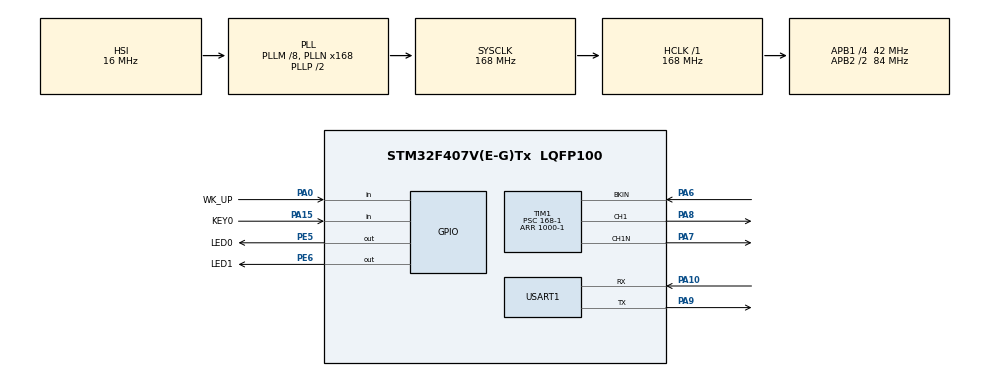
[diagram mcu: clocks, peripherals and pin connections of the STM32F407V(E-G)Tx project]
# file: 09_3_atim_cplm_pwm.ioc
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Mcu.Family=STM32F4
Mcu.Name=STM32F407V(E-G)Tx
Mcu.Package=LQFP100
NVIC.PriorityGroup=NVIC_PRIORITYGROUP_2
NVIC.USART1_IRQn=true\:2\:2\:true\:false\:true\:true\:true\:true
PA0-WKUP.GPIO_Label=WK_UP
PA0-WKUP.GPIO_PuPd=GPIO_PULLDOWN
PA0-WKUP.Signal=GPIO_Input
PA10.Mode=Asynchronous
PA10.Signal=USART1_RX
PA13.Mode=Serial_Wire
PA13.Signal=SYS_JTMS-SWDIO
PA14.Mode=Serial_Wire
PA14.Signal=SYS_JTCK-SWCLK
PA15.GPIO_Label=KEY0
PA15.GPIO_PuPd=GPIO_PULLDOWN
PA15.Signal=GPIO_Input
PA6.Mode=Activate-Break-Input
PA6.Signal=TIM1_BKIN
PA7.Mode=PWM Generation1 CH1 CH1N
PA7.Signal=TIM1_CH1N
PA8.Signal=S_TIM1_CH1
PA9.Mode=Asynchronous
PA9.Signal=USART1_TX
PC14-OSC32_IN.Mode=LSE-External-Oscillator
PC14-OSC32_IN.Signal=RCC_OSC32_IN
PC15-OSC32_OUT.Mode=LSE-External-Oscillator
PC15-OSC32_OUT.Signal=RCC_OSC32_OUT
PE5.GPIO_Label=LED0
PE5.GPIO_PuPd=GPIO_PULLUP
PE5.GPIO_Speed=GPIO_SPEED_FREQ_HIGH
PE5.PinState=GPIO_PIN_SET
PE5.Signal=GPIO_Output
PE6.GPIO_Label=LED1
PE6.GPIO_PuPd=GPIO_PULLUP
PE6.GPIO_Speed=GPIO_SPEED_FREQ_HIGH
PE6.PinState=GPIO_PIN_SET
PE6.Signal=GPIO_Output
PH0-OSC_IN.Mode=HSE-External-Oscillator
PH0-OSC_IN.Signal=RCC_OSC_IN
PH1-OSC_OUT.Mode=HSE-External-Oscillator
PH1-OSC_OUT.Signal=RCC_OSC_OUT
ProjectManager.HeapSize=0x200
ProjectManager.StackSize=0x400
ProjectManager.TargetToolchain=STM32CubeIDE
RCC.48MHZClocksFreq_Value=84000000
RCC.AHBFreq_Value=168000000
RCC.APB1CLKDivider=RCC_HCLK_DIV4
RCC.APB1Freq_Value=42000000
RCC.APB1TimFreq_Value=84000000
RCC.APB2CLKDivider=RCC_HCLK_DIV2
RCC.APB2Freq_Value=84000000
RCC.APB2TimFreq_Value=168000000
RCC.CortexFreq_Value=168000000
RCC.HCLKFreq_Value=168000000
RCC.HSE_VALUE=25000000
RCC.HSI_VALUE=16000000
RCC.PLLM=8
RCC.PLLN=168
RCC.SYSCLKFreq_VALUE=168000000
RCC.SYSCLKSource=RCC_SYSCLKSOURCE_PLLCLK
RCC.VCOOutputFreq_Value=336000000
SH.S_TIM1_CH1.0=TIM1_CH1,PWM Generation1 CH1 CH1N
TIM1.AutoReloadPreload=TIM_AUTORELOAD_PRELOAD_ENABLE
TIM1.AutomaticOutput=TIM_AUTOMATICOUTPUT_ENABLE
TIM1.Channel-PWM\ Generation1\ CH1\ CH1N=TIM_CHANNEL_1
TIM1.ClockDivision=TIM_CLOCKDIVISION_DIV4
TIM1.DeadTime=100
TIM1.OCIdleState_1=TIM_OCIDLESTATE_SET
TIM1.OCNPolarity_1=TIM_OCNPOLARITY_LOW
TIM1.OCPolarity_1=TIM_OCPOLARITY_LOW
TIM1.Period=1000-1
TIM1.Prescaler=168-1
TIM1.Pulse-PWM\ Generation1\ CH1\ CH1N=300
USART1.VirtualMode=VM_ASYNC
VP_TIM1_VS_ClockSourceINT.Mode=Internal
board=custom

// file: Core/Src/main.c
/**
 ****************************************************************************************************
 * @file        main.c
 * @author      ALIENTEK
 * @brief       Advanced timer Complementary output with deadband control code
 * @license     Copyright (C) 2012-2024, ALIENTEK
 ****************************************************************************************************
 * @attention
 *
 * platform     : ALIENTEK M100-STM32F407 board
 * website      : www.alientek.com
 * forum        : www.openedv.com/forum.php
 *
 * change logs  :
 * version      data         notes
 * V1.0         20240409     the first version
 *
 ****************************************************************************************************
 */

/* USER CODE BEGIN Header */

/* USER CODE END Header */
#include "main.h"
#include "tim.h"
#include "usart.h"
#include "gpio.h"

/* USER CODE BEGIN Includes */
#include "../../BSP/LED/led.h"
#include "../../BSP/KEY/key.h"
/* USER CODE END Includes */

/* USER CODE BEGIN PD */
/**
 * @brief   Displays information about the experiment
 * @param   None
 * @retval  None
 */
void stm32f407vg_show_mesg(void)
{
	/* The serial port outputs the experimental information */
	printf("\n");
	printf("********************************\r\n");
	printf("STM32F407\r\n");
	printf("ATIM Complementary output with deadband control Test\r\n");
	printf("ATOM@ALIENTEK\r\n");
	printf("********************************\r\n");
	printf("\r\n");
}
/* USER CODE END PD */

void SystemClock_Config(void);

int main(void)
{
  /* USER CODE BEGIN 1 */
  uint8_t t = 0;
  /* USER CODE END 1 */

  /* MCU Configuration--------------------------------------------------------*/

  /* Reset of all peripherals, Initializes the Flash interface and the Systick. */
  HAL_Init();

  /* Configure the system clock */
  SystemClock_Config();

  /* Initialize all configured peripherals */
  MX_GPIO_Init();
  MX_USART1_UART_Init();
  MX_TIM1_Init();
  /* USER CODE BEGIN 2 */
  stm32f407vg_show_mesg();
  /* USER CODE END 2 */

  /* Infinite loop */
  /* USER CODE BEGIN WHILE */
  while (1)
  {
	  if (++t == 20)
	  {
	  	 t = 0;
	  	 LED0_TOGGLE();
	  }

	  HAL_Delay(10);                 /* delay 10ms */
    /* USER CODE END WHILE */

  }
}

void SystemClock_Config(void)
{
  RCC_OscInitTypeDef RCC_OscInitStruct = {0};
  RCC_ClkInitTypeDef RCC_ClkInitStruct = {0};

  /** Configure the main internal regulator output voltage
  */
  __HAL_RCC_PWR_CLK_ENABLE();
  __HAL_PWR_VOLTAGESCALING_CONFIG(PWR_REGULATOR_VOLTAGE_SCALE1);

  /** Initializes the RCC Oscillators according to the specified parameters
  * in the RCC_OscInitTypeDef structure.
  */
  RCC_OscInitStruct.OscillatorType = RCC_OSCILLATORTYPE_HSI;
  RCC_OscInitStruct.HSIState = RCC_HSI_ON;
  RCC_OscInitStruct.HSICalibrationValue = RCC_HSICALIBRATION_DEFAULT;
  RCC_OscInitStruct.PLL.PLLState = RCC_PLL_ON;
  RCC_OscInitStruct.PLL.PLLSource = RCC_PLLSOURCE_HSI;
  RCC_OscInitStruct.PLL.PLLM = 8;
  RCC_OscInitStruct.PLL.PLLN = 168;
  RCC_OscInitStruct.PLL.PLLP = RCC_PLLP_DIV2;
  RCC_OscInitStruct.PLL.PLLQ = 4;
  if (HAL_RCC_OscConfig(&RCC_OscInitStruct) != HAL_OK)
  {
    Error_Handler();
  }

  /** Initializes the CPU, AHB and APB buses clocks
  */
  RCC_ClkInitStruct.ClockType = RCC_CLOCKTYPE_HCLK|RCC_CLOCKTYPE_SYSCLK
                              |RCC_CLOCKTYPE_PCLK1|RCC_CLOCKTYPE_PCLK2;
  RCC_ClkInitStruct.SYSCLKSource = RCC_SYSCLKSOURCE_PLLCLK;
  RCC_ClkInitStruct.AHBCLKDivider = RCC_SYSCLK_DIV1;
  RCC_ClkInitStruct.APB1CLKDivider = RCC_HCLK_DIV4;
  RCC_ClkInitStruct.APB2CLKDivider = RCC_HCLK_DIV2;

  if (HAL_RCC_ClockConfig(&RCC_ClkInitStruct, FLASH_LATENCY_5) != HAL_OK)
  {
    Error_Handler();
  }
}

void Error_Handler(void)
{
  __disable_irq();
  while (1)
  {
  }
}
